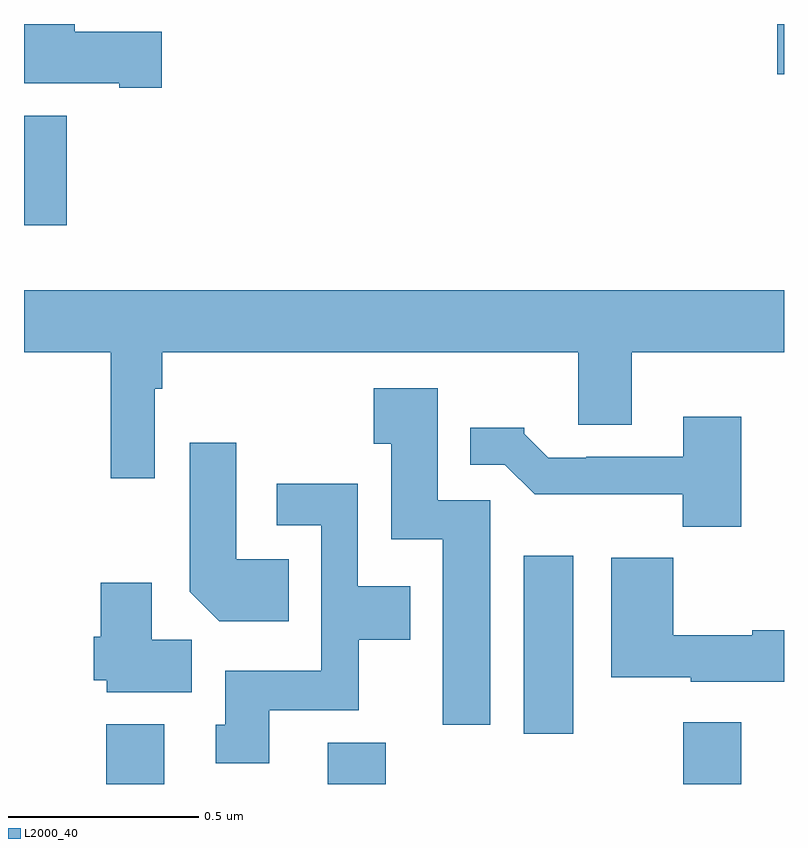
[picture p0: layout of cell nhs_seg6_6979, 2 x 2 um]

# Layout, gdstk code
import gdstk
lib = gdstk.Library(unit=1e-6, precision=1e-09)
def R(c, l, rs):  # rectangles x0, y0, x1, y1
    for r in rs: c.add(gdstk.rectangle(r[:2], r[2:], *l))
def P(c, l, *ps):  # polygons
    for p in ps: c.add(gdstk.Polygon(p, *l))
L2000_40 = (2000, 40)

nhs_seg6_6979 = lib.new_cell('nhs_seg6_6979')
R(nhs_seg6_6979, L2000_40, [(202.217,979.5,202.369,979.657), (202.799,979.5,202.952,979.609), (203.735,979.5,203.888,979.663), (203.315,979.632,203.446,980.101), (202,980.97,202.112,981.259), (203.982,981.368,204,981.5)])
P(nhs_seg6_6979, L2000_40, [(202.363,981.479),(202.133,981.479),(202.133,981.5),(202,981.5),(202,981.344),(202.25,981.344),(202.25,981.332),(202.363,981.332)],
  [(202.344,980.54),(202.364,980.54),(202.364,980.636),(203.459,980.636),(203.459,980.446),(203.599,980.446),(203.599,980.636),(204,980.636),(204,980.8),(202,980.8),(202,980.636),(202.228,980.636),(202.228,980.304),(202.344,980.304)],
  [(203.227,980.247),(203.089,980.247),(203.089,980.542),(202.921,980.542),(202.921,980.395),(202.967,980.395),(202.967,980.144),(203.102,980.144),(203.102,979.656),(203.227,979.656)],
  [(203.888,980.467),(203.735,980.467),(203.735,980.361),(203.479,980.361),(203.479,980.358),(203.38,980.358),(203.316,980.422),(203.316,980.437),(203.174,980.437),(203.174,980.34),(203.265,980.34),(203.344,980.262),(203.733,980.262),(203.733,980.177),(203.888,980.177)],
  [(202.697,980.092),(202.558,980.092),(202.558,980.398),(202.436,980.398),(202.436,980.006),(202.514,979.928),(202.697,979.928)],
  [(202.645,979.694),(202.881,979.694),(202.881,979.88),(203.017,979.88),(203.017,980.02),(202.878,980.02),(202.878,980.29),(202.665,980.29),(202.665,980.181),(202.782,980.181),(202.782,979.798),(202.529,979.798),(202.529,979.656),(202.505,979.656),(202.505,979.554),(202.645,979.554)],
  [(204,979.904),(203.916,979.904),(203.916,979.891),(203.708,979.891),(203.708,980.095),(203.546,980.095),(203.546,979.781),(203.754,979.781),(203.754,979.769),(204,979.769)],
  [(202.441,979.88),(202.336,979.88),(202.336,980.029),(202.202,980.029),(202.202,979.887),(202.184,979.887),(202.184,979.773),(202.218,979.773),(202.218,979.742),(202.441,979.742)])

lib.write_gds('nhs_seg6_6979.gds')
